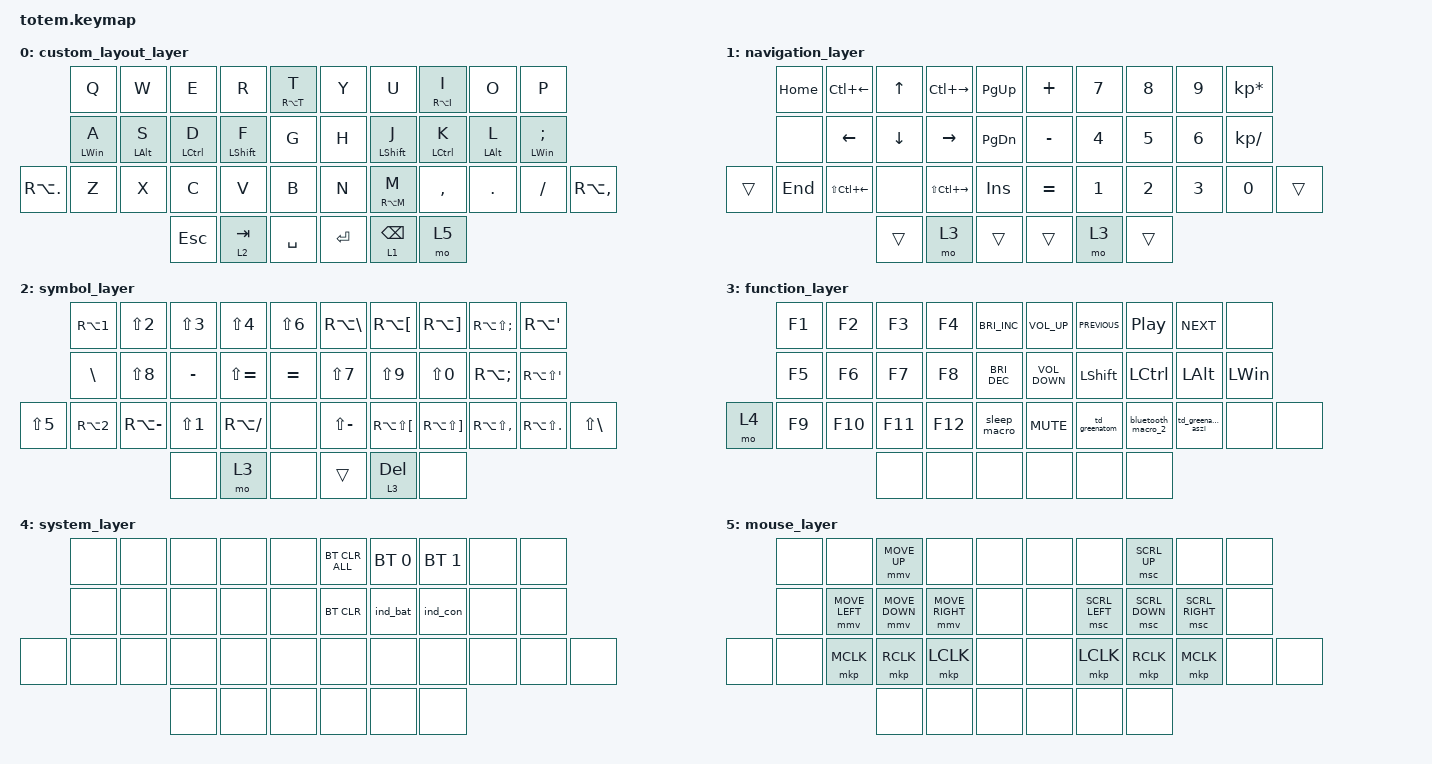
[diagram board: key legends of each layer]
#include <dt-bindings/zmk/mouse.h>
#include <behaviors/rgbled_widget.dtsi>
#include <behaviors.dtsi>
#include <dt-bindings/zmk/bt.h>
#include <dt-bindings/zmk/keys.h>
#include <dt-bindings/zmk/outputs.h>
#include <dt-bindings/zmk/pointing.h>

#define ZMK_POINTING_DEFAULT_MOVE_VAL 1000  // default: 600
#define ZMK_POINTING_DEFAULT_SCRL_VAL 20    // default: 10

/ {
    behaviors {
        ht: ht {
            compatible = "zmk,behavior-hold-tap";
            label = "HT";
            bindings = <&kp>, <&kp>;

            #binding-cells = <2>;
            tapping-term-ms = <300>;
            quick-tap-ms = <300>;
            require-prior-idle-ms = <100>;
            flavor = "tap-preferred";
        };

        td_greenatom: td_greenatom {
            compatible = "zmk,behavior-tap-dance";
            label = "TD_GREENATOM";
            #binding-cells = <0>;
            bindings = <&bluetooth_macro_1>, <&none>, <&greenatom>;
        };

        td_greenatom_aszi: td_greenatom_aszi {
            compatible = "zmk,behavior-tap-dance";
            label = "TD_GREENATOM_ASZI";
            #binding-cells = <0>;
            bindings = <&dongle_macro>, <&none>, <&greenatom_aszi>;
        };
    };

    macros {
        sleep_macro: sleep_macro {
            compatible = "zmk,behavior-macro";
            #binding-cells = <0>;
            bindings = <&kp LG(D) &kp LA(F4) &kp UP_ARROW &kp ENTER>;
            label = "SLEEP_MACRO";
            wait-ms = <350>;
        };

        dongle_macro: dongle_macro {
            compatible = "zmk,behavior-macro";
            #binding-cells = <0>;
            bindings = <&out OUT_USB>;
            label = "DONGLE_MACRO";
        };

        bluetooth_macro_1: bluetooth_macro_1 {
            compatible = "zmk,behavior-macro";
            #binding-cells = <0>;
            bindings = <&bt BT_SEL 0 &out OUT_BLE>;
            label = "BLUETOOTH_MACRO_1";
        };

        bluetooth_macro_2: bluetooth_macro_2 {
            compatible = "zmk,behavior-macro";
            #binding-cells = <0>;
            bindings = <&bt BT_SEL 1 &out OUT_BLE>;
            label = "BLUETOOTH_MACRO_2";
        };

        switch_language: switch_language {
            compatible = "zmk,behavior-macro";
            #binding-cells = <0>;
            bindings = <&kp LS(LEFT_ALT)>;
            label = "SWITCH_LANGUAGE";
        };

        greenatom: greenatom {
            compatible = "zmk,behavior-macro";
            #binding-cells = <0>;
            bindings = <&kp LS(G) &kp R &kp E &kp E &kp N &kp A &kp T &kp O &kp M &kp LS(G) &kp R &kp EXCL &kp G &kp O &kp R &kp Y &kp N2 &kp ENTER>;
            label = "GREENATOM";
        };

        greenatom_aszi: greenatom_aszi {
            compatible = "zmk,behavior-macro";
            #binding-cells = <0>;
            bindings = <&none &kp LS(G) &kp LS(A) &kp LS(N) &kp A &kp D &kp O &kp L &kp I &kp N &kp S &kp K &kp Y &kp TAB &greenatom>;
            label = "GREENATOM_ASZI";
        };
    };

    combos {
        compatible = "zmk,combos";

        changing_the_language {
            bindings = <&switch_language>;
            key-positions = <16 12 13 17>;
        };

        soft_off {
            bindings = <&soft_off>;
            key-positions = <10 11 12 13 16 17 18 19 33 36>;
        };
    };

    keymap {
        compatible = "zmk,keymap";

        custom_layout_layer {
            bindings = <
                &kp Q           &kp W           &kp E        &kp R             &ht RA(T) T    &kp Y      &kp U             &ht RA(I) I  &kp O           &kp P
                &ht LEFT_WIN A  &ht LEFT_ALT S  &ht LCTRL D  &ht LEFT_SHIFT F  &kp G          &kp H      &ht LEFT_SHIFT J  &ht LCTRL K  &ht LEFT_ALT L  &ht LEFT_WIN SEMICOLON
&kp RA(PERIOD)  &kp Z           &kp X           &kp C        &kp V             &kp B          &kp N      &ht RA(M) M       &kp COMMA    &kp PERIOD      &kp SLASH               &kp RA(COMMA)
                                                &kp ESCAPE   &lt 2 TAB         &kp SPACE      &kp ENTER  &lt 1 BACKSPACE   &mo 5
            >;
        };

        navigation_layer {
            bindings = <
        &kp HOME  &kp LC(LEFT)      &kp UP_ARROW    &kp LC(RIGHT)      &kp PAGE_UP      &kp PLUS   &kp NUMBER_7  &kp NUMBER_8  &kp NUMBER_9  &kp KP_MULTIPLY
        &none     &kp LEFT_ARROW    &kp DOWN_ARROW  &kp RIGHT_ARROW    &kp PAGE_DOWN    &kp MINUS  &kp NUMBER_4  &kp N5        &kp NUMBER_6  &kp KP_DIVIDE
&trans  &kp END   &kp LS(LC(LEFT))  &none           &kp LS(LC(RIGHT))  &kp INSERT       &kp EQUAL  &kp NUMBER_1  &kp NUMBER_2  &kp NUMBER_3  &kp NUMBER_0     &trans
                                    &trans          &mo 3              &trans           &trans     &mo 3         &trans
            >;
        };

        symbol_layer {
            bindings = <
                  &kp RA(NUMBER_1)  &kp LS(NUMBER_2)  &kp LS(NUMBER_3)  &kp LS(NUMBER_4)  &kp LS(NUMBER_6)    &kp RA(BACKSLASH)  &kp RA(LEFT_BRACKET)      &kp RA(RIGHT_BRACKET)      &kp RA(LS(SEMICOLON))  &kp RA(SINGLE_QUOTE)
                  &kp BACKSLASH     &kp LS(NUMBER_8)  &kp MINUS         &kp LS(EQUAL)     &kp EQUAL           &kp LS(NUMBER_7)   &kp LS(NUMBER_9)          &kp LS(NUMBER_0)           &kp RA(SEMICOLON)      &kp RA(LS(APOSTROPHE))
&kp LS(NUMBER_5)  &kp RA(NUMBER_2)  &kp RA(MINUS)     &kp LS(NUMBER_1)  &kp RA(SLASH)     &none               &kp LS(MINUS)      &kp RA(LS(LEFT_BRACKET))  &kp RA(LS(RIGHT_BRACKET))  &kp RA(LS(COMMA))      &kp RA(LS(PERIOD))      &kp LS(BACKSLASH)
                                                      &none             &mo 3             &none               &trans             &lt 3 DELETE              &none
            >;
        };

        function_layer {
            bindings = <
       &kp F1  &kp F2   &kp F3   &kp F4   &kp C_BRIGHTNESS_INC    &kp C_VOLUME_UP    &kp C_PREVIOUS  &kp C_PLAY_PAUSE    &kp C_NEXT          &none
       &kp F5  &kp F6   &kp F7   &kp F8   &kp C_BRIGHTNESS_DEC    &kp C_VOLUME_DOWN  &kp LEFT_SHIFT  &kp LCTRL           &kp LEFT_ALT        &kp LEFT_WIN
&mo 4  &kp F9  &kp F10  &kp F11  &kp F12  &sleep_macro            &kp C_MUTE         &td_greenatom   &bluetooth_macro_2  &td_greenatom_aszi  &none         &none
                        &none    &none    &none                   &none              &none           &none
            >;
        };

        system_layer {
            bindings = <
       &none  &none  &none  &none  &none    &bt BT_CLR_ALL  &bt BT_SEL 0  &bt BT_SEL 1  &none  &none
       &none  &none  &none  &none  &none    &bt BT_CLR      &ind_bat      &ind_con      &none  &none
&none  &none  &none  &none  &none  &none    &none           &none         &none         &none  &none  &none
                     &none  &none  &none    &none           &none         &none
            >;
        };

        mouse_layer {
            bindings = <
       &none  &none           &mmv MOVE_UP    &none            &none    &none  &none           &msc SCRL_UP    &none            &none
       &none  &mmv MOVE_LEFT  &mmv MOVE_DOWN  &mmv MOVE_RIGHT  &none    &none  &msc SCRL_LEFT  &msc SCRL_DOWN  &msc SCRL_RIGHT  &none
&none  &none  &mkp MCLK       &mkp RCLK       &mkp LCLK        &none    &none  &mkp LCLK       &mkp RCLK       &mkp MCLK        &none  &none
                              &none           &none            &none    &none  &none           &none
            >;
        };
    };
};

&mmv {
    x-input-code = <INPUT_REL_X>;
    y-input-code = <INPUT_REL_Y>;
    time-to-max-speed-ms = <300>;
    acceleration-exponent = <3>;
};

&msc {
    x-input-code = <INPUT_REL_HWHEEL>;
    y-input-code = <INPUT_REL_WHEEL>;
    time-to-max-speed-ms = <1>;
    acceleration-exponent = <3>;
};
